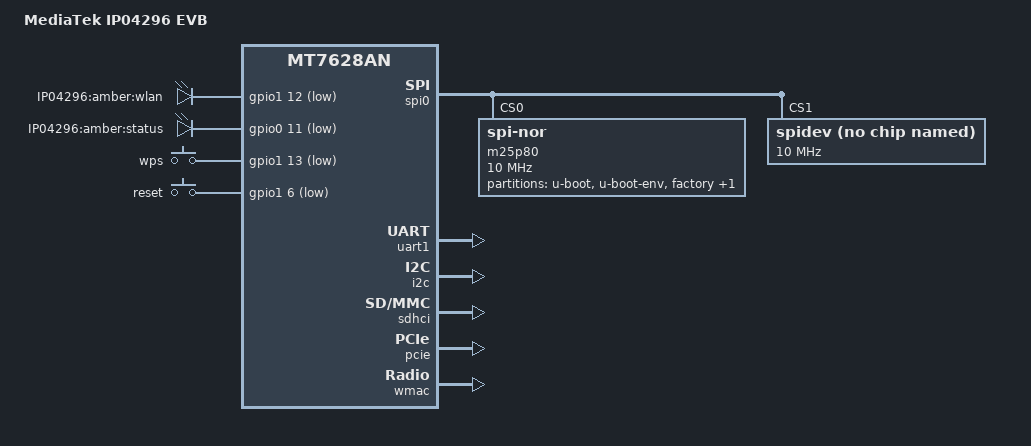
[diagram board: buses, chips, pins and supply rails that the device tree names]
/dts-v1/;

#include "mt7628an.dtsi"
#include <dt-bindings/input/input.h>

/ {
	compatible = "mediatek,IP04296", "mediatek,mt7628an-soc";
	model = "MediaTek IP04296 EVB";

	chosen {
		bootargs = "console=ttyS0,57600";
	};

	gpio-leds {
                compatible = "gpio-leds";
                 wlan {
			label = "IP04296:amber:wlan";
			gpios = <&gpio1 12 1>;
			default-state = "off";
                };
		cpu {
                        label = "IP04296:amber:status";
                        gpios = <&gpio0 11 1>;
                        default-state = "off";
		};
        };
	gpio-keys-polled {
		compatible = "gpio-keys-polled";
		#address-cells = <1>;
		#size-cells = <0>;
		poll-interval = <20>;
		
		wps {
                        label = "wps";
                        gpios = <&gpio1 13 1>;
                        linux,code = <KEY_WPS_BUTTON>;
                };	

                reset {
                        label = "reset";
                        gpios = <&gpio1 6 1>;
                        linux,code = <KEY_RESTART>;
                };

	};
};

&spi0 {
	status = "okay";

	m25p80@0 {
                #address-cells = <1>;
                #size-cells = <1>;
                compatible = "jedec,spi-nor";
                reg = <0>;
                spi-max-frequency = <10000000>;
		m25p,chunked-io = <32>;

                partition@0 {
                        label = "u-boot";
                        reg = <0x0 0x30000>;
                        read-only;
                };

                partition@30000 {
                        label = "u-boot-env";
                        reg = <0x30000 0x10000>;
                        read-only;
                };

                factory: partition@40000 {
                        label = "factory";
                        reg = <0x40000 0x10000>;
                        read-only;
                };

                partition@50000 {
                        label = "firmware";
                        reg = <0x50000 0x800000>;
                };
	};
	spidev@1 {
		#address-cells = <1>;
		#size-cells = <1>;
		compatible = "linux,spidev";
		reg = <1>;
		spi-max-frequency = <10000000>;
	};
};

&uart1 {
	status = "okay";
};

&i2c {
	status = "okay";
};

&ethernet {
	mtd-mac-address = <&factory 0x4>;
};

&sdhci {
	status = "okay";
};

&pcie {
	status = "okay";
};

&wmac {
	status = "okay";
};

&pinctrl {
        default_state: pinctrl0 {
                gpio {
                        ralink,group = "i2c", "gpio", "wled_an", "wdt", "uart1";
                        ralink,function = "gpio";
                };
        };
};

